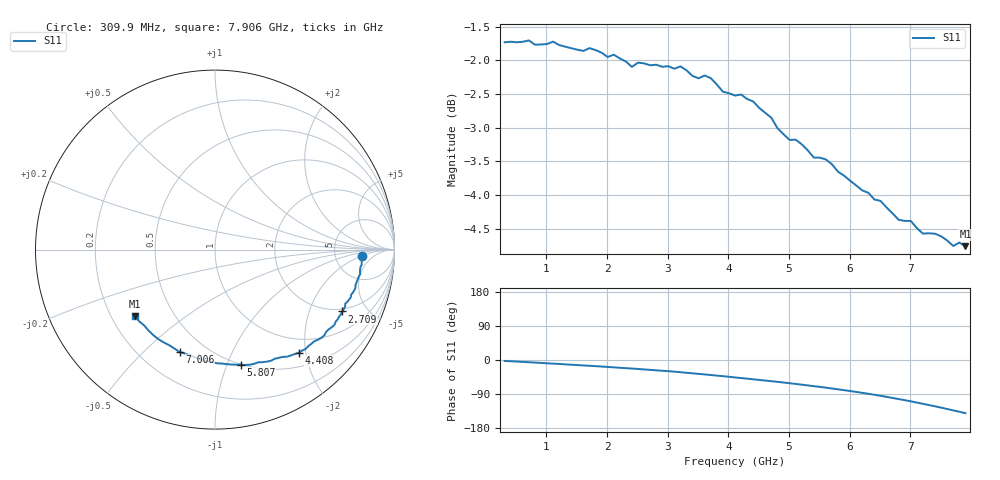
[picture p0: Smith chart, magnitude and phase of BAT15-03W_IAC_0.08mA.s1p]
! Infineon Technologies  Discrete & RF Semiconductors
! BAT15-03W-E6327
! IAC = 0.08 mA
! One-Port S-Parameters
# Hz  S  MA  R  50
!f  S11
!Hz  Mag  Ang
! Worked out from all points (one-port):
!   77 points, 309.9 MHz to 7.906 GHz, reference 50 ohm
!   lowest |S11| = -4.8 dB at 7.906 GHz (marker M1), VSWR 3.74, Z = 15 - j16.6 ohm
!   |S11| at or under -10 dB: nowhere
!   S11 on the Smith chart (normalised r, x): 309.9 MHz: 9.62, -2.08; 2.709 GHz: 1.86, -3.38; 4.408 GHz: 0.73, -1.87; 5.807 GHz: 0.50, -1.12; 7.006 GHz: 0.36, -0.65; 7.906 GHz: 0.30, -0.33
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3.0985e8  0.8194 -2.5
7.0965e8  0.822 -5.9
8.096e8  0.8161 -6.8
1.10945e9  0.8204 -9.6
1.30935e9  0.8133 -11.5
1.70915e9  0.8112 -15.3
2.2089e9  0.7971 -20.5
2.4088e9  0.7856 -22.5
2.50875e9  0.7913 -23.6
2.70865e9  0.7878 -26.0
3.2084e9  0.7863 -32.2
3.50825e9  0.7704 -36.6
3.6082e9  0.7741 -38.0
4.10795e9  0.748 -46.0
4.4078e9  0.7405 -51.0
4.70765e9  0.7201 -55.9
5.0075e9  0.6932 -61.3
5.10745e9  0.6936 -63.1
5.4073e9  0.6726 -69.1
5.6072e9  0.6704 -73.0
5.8071e9  0.6565 -77.4
6.007e9  0.6464 -82.0
6.50675e9  0.6245 -94.5
6.8066e9  0.6046 -103.1
7.0065e9  0.6035 -109.0
7.2064e9  0.5905 -115.7
7.50625e9  0.5878 -125.7
7.90605e9  0.5779 -140.3
